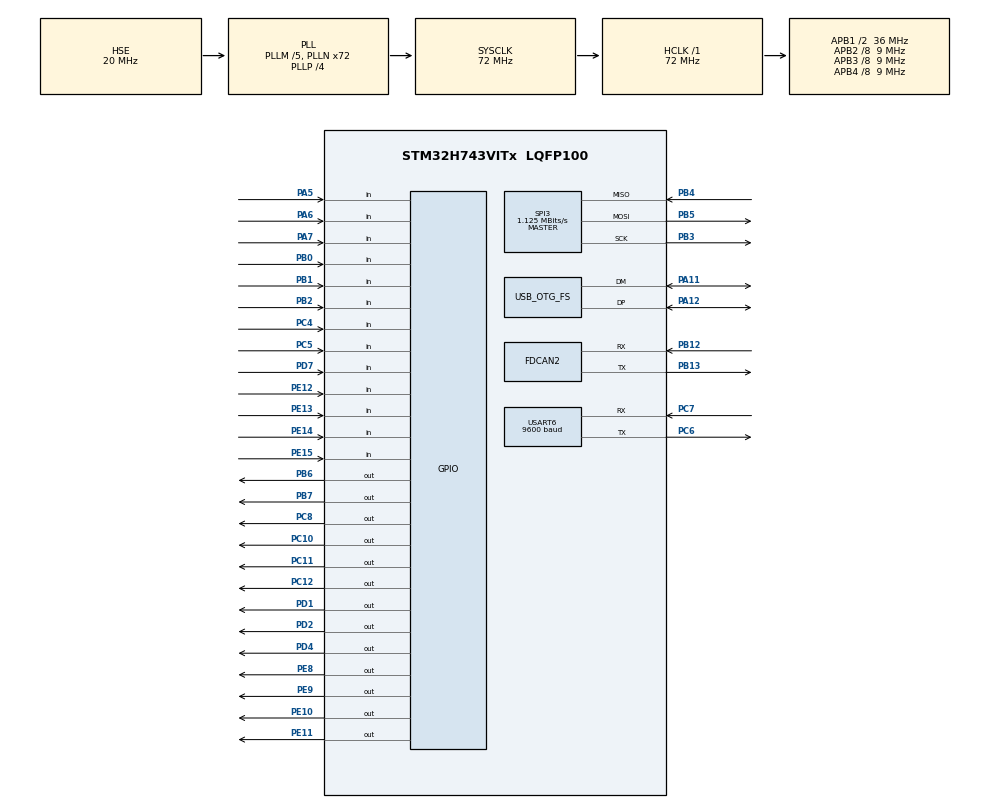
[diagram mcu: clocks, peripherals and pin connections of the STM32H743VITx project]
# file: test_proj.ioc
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Dma.Request0=SPI3_TX
Dma.SPI3_TX.0.Direction=DMA_MEMORY_TO_PERIPH
Dma.SPI3_TX.0.EventEnable=DISABLE
Dma.SPI3_TX.0.FIFOMode=DMA_FIFOMODE_DISABLE
Dma.SPI3_TX.0.Instance=DMA1_Stream0
Dma.SPI3_TX.0.MemDataAlignment=DMA_MDATAALIGN_BYTE
Dma.SPI3_TX.0.MemInc=DMA_MINC_ENABLE
Dma.SPI3_TX.0.Mode=DMA_NORMAL
Dma.SPI3_TX.0.PeriphDataAlignment=DMA_PDATAALIGN_BYTE
Dma.SPI3_TX.0.PeriphInc=DMA_PINC_DISABLE
Dma.SPI3_TX.0.Polarity=HAL_DMAMUX_REQ_GEN_RISING
Dma.SPI3_TX.0.Priority=DMA_PRIORITY_LOW
Dma.SPI3_TX.0.RequestNumber=1
Dma.SPI3_TX.0.SyncEnable=DISABLE
Dma.SPI3_TX.0.SyncPolarity=HAL_DMAMUX_SYNC_NO_EVENT
Dma.SPI3_TX.0.SyncRequestNumber=1
FDCAN2.Init_ProtocolException=ENABLE
FDCAN2.NominalPrescaler=4
FDCAN2.NominalTimeSeg1=15
FDCAN2.RxBuffersNbr=1
FDCAN2.StdFiltersNbr=1
FDCAN2.TxBuffersNbr=1
FDCAN2.TxFifoQueueElmtsNbr=0
FDCAN2.TxFifoQueueMode=FDCAN_TX_QUEUE_OPERATION
Mcu.Family=STM32H7
Mcu.Name=STM32H743VITx
Mcu.Package=LQFP100
NVIC.DMA1_Stream0_IRQn=true\:0\:0\:false\:false\:true\:false
NVIC.OTG_FS_IRQn=true\:0\:0\:false\:false\:true\:false
NVIC.PriorityGroup=NVIC_PRIORITYGROUP_4
NVIC.SPI3_IRQn=true\:0\:0\:false\:false\:true\:false
NVIC.TIM7_IRQn=true\:0\:0\:false\:false\:true\:true
PA11.Mode=Device_Only
PA11.Signal=USB_OTG_FS_DM
PA12.Mode=Device_Only
PA12.Signal=USB_OTG_FS_DP
PA13\ (JTMS/SWDIO).Mode=Serial_Wire
PA13\ (JTMS/SWDIO).Signal=SYS_JTMS-SWDIO
PA14\ (JTCK/SWCLK).Mode=Serial_Wire
PA14\ (JTCK/SWCLK).Signal=SYS_JTCK-SWCLK
PA5.Signal=GPIO_Input
PA6.Signal=GPIO_Input
PA7.Signal=GPIO_Input
PB0.Signal=GPIO_Input
PB1.Signal=GPIO_Input
PB12.Mode=FDCANSlave
PB12.Signal=FDCAN2_RX
PB13.Mode=FDCANSlave
PB13.Signal=FDCAN2_TX
PB2.Signal=GPIO_Input
PB3\ (JTDO/TRACESWO).GPIO_Mode=GPIO_MODE_AF_PP
PB3\ (JTDO/TRACESWO).GPIO_PuPd=GPIO_PULLDOWN
PB3\ (JTDO/TRACESWO).GPIO_Speed=GPIO_SPEED_FREQ_VERY_HIGH
PB3\ (JTDO/TRACESWO).Mode=Full_Duplex_Master
PB3\ (JTDO/TRACESWO).Signal=SPI3_SCK
PB4\ (NJTRST).GPIO_Mode=GPIO_MODE_AF_PP
PB4\ (NJTRST).GPIO_PuPd=GPIO_PULLDOWN
PB4\ (NJTRST).GPIO_Speed=GPIO_SPEED_FREQ_VERY_HIGH
PB4\ (NJTRST).Mode=Full_Duplex_Master
PB4\ (NJTRST).Signal=SPI3_MISO
PB5.GPIO_Mode=GPIO_MODE_AF_PP
PB5.GPIO_PuPd=GPIO_PULLDOWN
PB5.GPIO_Speed=GPIO_SPEED_FREQ_VERY_HIGH
PB5.Mode=Full_Duplex_Master
PB5.Signal=SPI3_MOSI
PB6.GPIO_FM6=SYSCFG_PMCR_I2C_PB6_FMP
PB6.GPIO_PuPd=GPIO_PULLDOWN
PB6.GPIO_Speed=GPIO_SPEED_FREQ_HIGH
PB6.Signal=GPIO_Output
PB7.Signal=GPIO_Output
PC10.GPIO_PuPd=GPIO_PULLDOWN
PC10.Signal=GPIO_Output
PC11.GPIO_PuPd=GPIO_PULLDOWN
PC11.Signal=GPIO_Output
PC12.GPIO_PuPd=GPIO_PULLDOWN
PC12.Signal=GPIO_Output
PC14-OSC32_IN\ (OSC32_IN).Mode=LSE-External-Oscillator
PC14-OSC32_IN\ (OSC32_IN).Signal=RCC_OSC32_IN
PC15-OSC32_OUT\ (OSC32_OUT).Mode=LSE-External-Oscillator
PC15-OSC32_OUT\ (OSC32_OUT).Signal=RCC_OSC32_OUT
PC4.Signal=GPIO_Input
PC5.Signal=GPIO_Input
PC6.Mode=Asynchronous
PC6.Signal=USART6_TX
PC7.Mode=Asynchronous
PC7.Signal=USART6_RX
PC8.GPIO_PuPd=GPIO_PULLDOWN
PC8.Signal=GPIO_Output
PD1.GPIO_PuPd=GPIO_PULLDOWN
PD1.Signal=GPIO_Output
PD2.GPIO_PuPd=GPIO_PULLDOWN
PD2.Signal=GPIO_Output
PD4.GPIO_PuPd=GPIO_PULLDOWN
PD4.Signal=GPIO_Output
PD7.GPIO_PuPd=GPIO_PULLDOWN
PD7.Signal=GPIO_Input
PE10.Signal=GPIO_Output
PE11.Signal=GPIO_Output
PE12.Signal=GPIO_Input
PE13.Signal=GPIO_Input
PE14.Signal=GPIO_Input
PE15.Signal=GPIO_Input
PE8.Signal=GPIO_Output
PE9.Signal=GPIO_Output
PH0-OSC_IN\ (PH0).Mode=HSE-External-Oscillator
PH0-OSC_IN\ (PH0).Signal=RCC_OSC_IN
PH1-OSC_OUT\ (PH1).Mode=HSE-External-Oscillator
PH1-OSC_OUT\ (PH1).Signal=RCC_OSC_OUT
ProjectManager.HeapSize=0x200
ProjectManager.StackSize=0x400
ProjectManager.TargetToolchain=TrueSTUDIO
RCC.ADCFreq_Value=75000000
RCC.APB1Freq_Value=36000000
RCC.APB2Freq_Value=9000000
RCC.APB3Freq_Value=9000000
RCC.APB4Freq_Value=9000000
RCC.CKPERSourceSelection=RCC_CLKPSOURCE_HSE
RCC.CortexFreq_Value=72000000
RCC.D1PPRE=RCC_APB3_DIV8
RCC.D2PPRE1=RCC_APB1_DIV2
RCC.D2PPRE2=RCC_APB2_DIV8
RCC.D3PPRE=RCC_APB4_DIV8
RCC.DIVM1=5
RCC.DIVM2=20
RCC.DIVM3=8
RCC.DIVN1=72
RCC.DIVN2=150
RCC.DIVN3=96
RCC.DIVP1=4
RCC.DIVP3=128
RCC.DIVQ1=8
RCC.DIVQ2=30
RCC.DIVQ3=5
RCC.HCLKFreq_Value=72000000
RCC.HSE_VALUE=20000000
RCC.PLLSourceVirtual=RCC_PLLSOURCE_HSE
RCC.SYSCLKFreq_VALUE=72000000
RCC.SYSCLKSource=RCC_SYSCLKSOURCE_PLLCLK
RCC.USART16CLockSelection=RCC_USART16CLKSOURCE_PLL2
RCC.USBCLockSelection=RCC_USBCLKSOURCE_PLL3
RCC.USBFreq_Value=48000000
SPI3.BaudRatePrescaler=SPI_BAUDRATEPRESCALER_32
SPI3.CalculateBaudRate=1.125 MBits/s
SPI3.DataSize=SPI_DATASIZE_8BIT
SPI3.Direction=SPI_DIRECTION_2LINES
SPI3.Mode=SPI_MODE_MASTER
SPI3.VirtualType=VM_MASTER
TIM7.Period=1079
TIM7.Prescaler=2000
USART6.BaudRate=9600
USART6.FIFOMode=FIFOMODE_DISABLE
USART6.VirtualMode=VM_ASYNC
USB_DEVICE.CLASS_NAME_FS=CDC
USB_DEVICE.USBD_MAX_STR_DESC_SIZ-CDC_FS=64
USB_DEVICE.USBD_SELF_POWERED-CDC_FS=0
USB_DEVICE.VirtualMode-CDC_FS=Cdc
USB_DEVICE.VirtualModeFS=Cdc_FS
USB_OTG_FS.VirtualMode=Device_Only
USB_OTG_FS.low_power_enable=DISABLE
VP_RCC_USB.Mode=USB_FS
VP_TIM7_VS_ClockSourceINT.Mode=Enable_Timer
VP_USB_DEVICE_VS_USB_DEVICE_CDC_FS.Mode=CDC_FS
board=custom

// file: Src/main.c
/* USER CODE BEGIN Header */
/**
  ******************************************************************************
  * @file           : main.c
  * @brief          : Main program body
  ******************************************************************************
  * This notice applies to any and all portions of this file
  * that are not between comment pairs USER CODE BEGIN and
  * USER CODE END. Other portions of this file, whether
  * inserted by the user or by software development tools
  * are owned by their respective copyright owners.
  *
  * Copyright (c) 2019 STMicroelectronics International N.V.
  * All rights reserved.
  *
  * Redistribution and use in source and binary forms, with or without
  * modification, are permitted, provided that the following conditions are met:
  *
  * 1. Redistribution of source code must retain the above copyright notice,
  *    this list of conditions and the following disclaimer.
  * 2. Redistributions in binary form must reproduce the above copyright notice,
  *    this list of conditions and the following disclaimer in the documentation
  *    and/or other materials provided with the distribution.
  * 3. Neither the name of STMicroelectronics nor the names of other
  *    contributors to this software may be used to endorse or promote products
  *    derived from this software without specific written permission.
  * 4. This software, including modifications and/or derivative works of this
  *    software, must execute solely and exclusively on microcontroller or
  *    microprocessor devices manufactured by or for STMicroelectronics.
  * 5. Redistribution and use of this software other than as permitted under
  *    this license is void and will automatically terminate your rights under
  *    this license.
  *
  * THIS SOFTWARE IS PROVIDED BY STMICROELECTRONICS AND CONTRIBUTORS "AS IS"
  * AND ANY EXPRESS, IMPLIED OR STATUTORY WARRANTIES, INCLUDING, BUT NOT
  * LIMITED TO, THE IMPLIED WARRANTIES OF MERCHANTABILITY, FITNESS FOR A
  * PARTICULAR PURPOSE AND NON-INFRINGEMENT OF THIRD PARTY INTELLECTUAL PROPERTY
  * RIGHTS ARE DISCLAIMED TO THE FULLEST EXTENT PERMITTED BY LAW. IN NO EVENT
  * SHALL STMICROELECTRONICS OR CONTRIBUTORS BE LIABLE FOR ANY DIRECT, INDIRECT,
  * INCIDENTAL, SPECIAL, EXEMPLARY, OR CONSEQUENTIAL DAMAGES (INCLUDING, BUT NOT
  * LIMITED TO, PROCUREMENT OF SUBSTITUTE GOODS OR SERVICES; LOSS OF USE, DATA,
  * OR PROFITS; OR BUSINESS INTERRUPTION) HOWEVER CAUSED AND ON ANY THEORY OF
  * LIABILITY, WHETHER IN CONTRACT, STRICT LIABILITY, OR TORT (INCLUDING
  * NEGLIGENCE OR OTHERWISE) ARISING IN ANY WAY OUT OF THE USE OF THIS SOFTWARE,
  * EVEN IF ADVISED OF THE POSSIBILITY OF SUCH DAMAGE.
  *
  ******************************************************************************
  */
/* USER CODE END Header */

#include "main.h"
#include "usb_device.h"

/* USER CODE BEGIN Includes */

#include "wizchip_conf.h"
#include "w5200.h"
#include "socket.h"
#include "dhcp.h"
#include "Universal_controller_PC_protocol.h"

#define LED_VD1(state)		HAL_GPIO_WritePin(GPIOB, GPIO_PIN_7, state)
#define LED_VD2(state)		HAL_GPIO_WritePin(GPIOD, GPIO_PIN_1, state)
#define LED_VD5(state)		HAL_GPIO_WritePin(GPIOC, GPIO_PIN_12, state)
#define LED_VD6(state)		HAL_GPIO_WritePin(GPIOC, GPIO_PIN_11, state)
#define LED_VD7(state)		HAL_GPIO_WritePin(GPIOC, GPIO_PIN_10, state)

#define DATA_READ_CMD 	0x00
#define DATA_WRITE_CMD	0x80

#define PIN_nINT		 	HAL_GPIO_ReadPin(GPIOD,GPIO_PIN_7)
#define PIN_nCS1(state) 	HAL_GPIO_WritePin(GPIOB, GPIO_PIN_6, state)
#define PIN_PWDN(state) 	HAL_GPIO_WritePin(GPIOD, GPIO_PIN_2, state)
#define PIN_nRESET(state) 	HAL_GPIO_WritePin(GPIOD, GPIO_PIN_4, state)
/* USER CODE END Includes */

/* USER CODE BEGIN PTD */
void cs_set(){
	PIN_nCS1(RESET);
}
void cs_unset(){
	PIN_nCS1(SET);
}

uint8_t data_wiznet_read(SPI_HandleTypeDef *hspi, unsigned short address){
	uint8_t data[5] = {0};
	unsigned short adr, data_lenght = 1;
	uint8_t data_rcv=0;
	adr = address;
	data[0] = (uint8_t)(adr>>8);
	data[1] = (uint8_t)adr;
	data[2] = (uint8_t)(DATA_READ_CMD|(data_lenght>>8));
	data[3] = (uint8_t)data_lenght;
	HAL_SPI_Transmit(hspi, data, 4, 10);
	HAL_SPI_Receive(hspi, &data_rcv, 1, 10);
	return data_rcv;
}

void data_wiznet_write(SPI_HandleTypeDef *hspi, unsigned short address, uint8_t data_value){
	unsigned short adr, data_lenght = 1;
	adr = address;
	uint8_t data[5] = {0};
	data[0] = (uint8_t)(adr>>8);
	data[1] = (uint8_t)adr;
	data[2] = (uint8_t)(DATA_WRITE_CMD|(data_lenght>>8));
	data[3] = (uint8_t)data_lenght;
	data[4] = data_value;
	HAL_SPI_Transmit(hspi, data, 5, 10);
}

/* USER CODE END PTD */

FDCAN_HandleTypeDef hfdcan2;

SPI_HandleTypeDef hspi3;
DMA_HandleTypeDef hdma_spi3_tx;

TIM_HandleTypeDef htim7;

UART_HandleTypeDef huart6;

/* USER CODE BEGIN PV */
/* Private variables ---------------------------------------------------------*/

/* USER CODE END PV */

void SystemClock_Config(void);
static void MX_GPIO_Init(void);
static void MX_DMA_Init(void);
static void MX_USART6_UART_Init(void);
static void MX_TIM7_Init(void);
static void MX_SPI3_Init(void);
static void MX_FDCAN2_Init(void);
/* USER CODE BEGIN PFP */
/* Private function prototypes -----------------------------------------------*/

void FDCAN_Config(uint32_t adr)
{

  /* Configure Rx filter */
	FDCAN_FilterTypeDef sFilterConfig;
	sFilterConfig.IdType = FDCAN_STANDARD_ID;
	sFilterConfig.FilterIndex = 0;
	sFilterConfig.FilterType = FDCAN_FILTER_MASK;
	sFilterConfig.FilterConfig = FDCAN_FILTER_TO_RXBUFFER;
	sFilterConfig.FilterID1 = adr;
	sFilterConfig.FilterID2 = 0x01F;
	HAL_FDCAN_ConfigGlobalFilter(&hfdcan2, FDCAN_REJECT, FDCAN_REJECT, DISABLE, DISABLE);
	if (HAL_FDCAN_ConfigFilter(&hfdcan2, &sFilterConfig) != HAL_OK)
	{
		/* Filter configuration Error */
		Error_Handler();
	}

  /* Start the FDCAN module */
  if (HAL_FDCAN_Start(&hfdcan2) != HAL_OK)
  {
    /* Start Error */
    Error_Handler();
  }
}

char can_tx_func(FDCAN_HandleTypeDef *hfdcan, unsigned int ID, uint32_t data_lenght, uint8_t *data, uint32_t can_buf_num)
{
	/* Prepare Tx Header */
	FDCAN_TxHeaderTypeDef TxHeader;
	TxHeader.Identifier = ID;
	TxHeader.IdType = FDCAN_STANDARD_ID;
	TxHeader.TxFrameType = FDCAN_DATA_FRAME;
	TxHeader.DataLength = (data_lenght<<16);
	TxHeader.ErrorStateIndicator = FDCAN_ESI_ACTIVE;
	TxHeader.BitRateSwitch = FDCAN_BRS_OFF;
	TxHeader.FDFormat = FDCAN_CLASSIC_CAN;
	TxHeader.TxEventFifoControl = FDCAN_TX_EVENT;
	TxHeader.MessageMarker = 0;
	//HAL_FDCAN_AddMessageToTxFifoQ(hfdcan, &TxHeader, data);
	HAL_FDCAN_AddMessageToTxBuffer(hfdcan, &TxHeader, data, can_buf_num);
	HAL_FDCAN_EnableTxBufferRequest(hfdcan, can_buf_num);
	return 0xFF;
}

void wiznet820_send_data(SPI_HandleTypeDef *hspi, unsigned short address, uint8_t data_value);
uint8_t wiznet820_read_data(SPI_HandleTypeDef *hspi, unsigned short address){
		PIN_nCS1(RESET);
		uint8_t data[5] = {0};
		unsigned short adr, data_lenght = 1;
		uint8_t data_rcv=0;
		adr = address;
		data[0] = (uint8_t)(adr>>8);
		data[1] = (uint8_t)adr;
		data[2] = (uint8_t)(DATA_READ_CMD|(data_lenght>>8));
		data[3] = (uint8_t)data_lenght;
		HAL_SPI_Transmit(hspi, data, 4, 10);
		HAL_SPI_Receive(hspi, &data_rcv, 1, 10);
		PIN_nCS1(SET);
		return data_rcv;
}
void eth_cmds_analysis(fobos_protocol_buf_u *);
void uart_send_byte(uint8_t *data, char lenght);
/* USER CODE END PFP */

/* USER CODE BEGIN 0 */
volatile char tmr7_flag=0;

uint8_t s_Buffer[8];
volatile uint32_t count_rs485_bytes=0;
volatile uint8_t buff = 0, buf_rx[3] = {0};

int rand_val(int min, int max){
   return min + rand() / (RAND_MAX / (max - min + 1) + 1);
}

/* USER CODE END 0 */

int main(void)
{

  /* MCU Configuration--------------------------------------------------------*/

  /* Reset of all peripherals, Initializes the Flash interface and the Systick. */
  HAL_Init();

  /* Configure the system clock */
  SystemClock_Config();

  /* Initialize all configured peripherals */
  MX_GPIO_Init();
  MX_DMA_Init();
  MX_USB_DEVICE_Init();
  MX_USART6_UART_Init();
  MX_TIM7_Init();
  MX_SPI3_Init();
  MX_FDCAN2_Init();
  /* USER CODE BEGIN 2 */
  PIN_PWDN(SET);
  PIN_nRESET(RESET);
  //HAL_Delay(200);
  LED_VD5(SET);
  LED_VD6(SET);
  LED_VD7(SET);
  HAL_GPIO_WritePin(GPIOC, GPIO_PIN_8, SET);
#define SOCKET_NMBR		0
#define SOCKET0 		0
#define SOCKET1 		1
  uint16_t socket_port = 15000;
  PIN_PWDN(RESET);
  PIN_nRESET(SET);
  PIN_nCS1(SET);
  HAL_Delay(800);
  extern _WIZCHIP WIZCHIP;
  //tmr period = 1000*(prescaler+1 * counter+1) / freq.   (ms)

	  uint8_t ip_gateway_adr[4] = {192,168,100,2};
	  uint8_t subnet_mask_adr[4] = {255,255,255,0};
	  uint8_t source_hardware_adr[6] = {0x00,0x08,0xDC,0x01,0x02,0x03};
	  uint8_t ip_source_adr[4] = {192,168,1,0};
	  uint8_t ip_destination_adr[4] = {192,168,100,2};

		setSUBR(subnet_mask_adr);
		//setGAR(ip_gateway_adr);
		setSHAR(source_hardware_adr);
		setSIPR(ip_source_adr);

		setsockopt(SOCKET0, SO_DESTPORT, &socket_port);
		setsockopt(SOCKET0, SO_DESTIP, ip_destination_adr);
		wiz_NetInfo info;
		info.dhcp = 2;
		wizchip_setnetinfo();
  FDCAN_Config(1);
  HAL_TIM_Base_Start_IT(&htim7);

  uint8_t buf[8] = {'a', 'b', 'c', 'd', 'e', 'f', 'g', 'h'}, rcv_buf[9];
  HAL_GPIO_WritePin(GPIOC, GPIO_PIN_8, RESET);

  //HAL_MDMA_Start(&hmdma_mdma_channel0_dma1_stream0_tc_0, )
  /* USER CODE END 2 */

  /* Infinite loop */
  /* USER CODE BEGIN WHILE */
  uint8_t dhcp_buf[580];
  DHCP_init(SOCKET1, dhcp_buf);

  while (1)
  {
	 /* if(0)
	  if(HAL_UART_Receive(&huart6, rcv_buf, 9, 100) == HAL_OK){
		  LED_VD7(RESET);
		  HAL_GPIO_WritePin(GPIOC, GPIO_PIN_8, SET);
		  HAL_UART_Transmit(&huart6, rcv_buf, 9, 100);
		  HAL_GPIO_WritePin(GPIOC, GPIO_PIN_8, RESET);
		  LED_VD7(SET);
	  }

	  int delay = rand_val(100,400);
	  HAL_Delay(delay);
	  {static a=0;
	  LED_VD7(a);
	  a^=1;}
	  HAL_GPIO_WritePin(GPIOC, GPIO_PIN_8, SET);
	  uint8_t ok[] = "987654321";
	  HAL_UART_Transmit(&huart6, ok, 9, 100);
	  HAL_GPIO_WritePin(GPIOC, GPIO_PIN_8, RESET);

	  if(tmr7_flag)
	  {
		  LED_VD7(RESET);
		  tmr7_flag = 0;
		  uint8_t tx_data[2] = {0x31, 0x32};
		  static int a = 0;

		  LED_VD7(SET);
		  if(a)
			  LED_VD5(a^=1);
		  else{
			  int8_t temp_socket_state=0xAA;
			  //HAL_SPI_Transmit_DMA(&hspi3, &temp_socket_state, 1);
			  //HAL_SPI_Transmit(&hspi3, &temp_socket_state, 1, 100);
			  LED_VD5(a^=1);
			  //can_tx_func(&hfdcan2, 0xAA, 2, tx_data, FDCAN_TX_BUFFER0);

		  }
	  }*/
//111111111122222222223333333333444444444455555555556666666666777777777788888888889999999999AAAAAAAAAABB //51 символ
//AWD: move forward(hex): 	05 4B 08 00 03 AA 00 FB
//AWD: move backward(hex): 	05 4B 08 00 83 AA 00 7B
	  //AWD: stop(hex):		05 4B 08 00 00 00 00 A8
	  if(DHCP_run() == DHCP_IP_LEASED){
		  LED_VD5(RESET);
		  getIPfromDHCP(ip_source_adr);
	  }

	  HAL_Delay(5);
	  if(0)
	  if(tmr7_flag)
	  {
		  tmr7_flag=0;
		  volatile static char a=0;
		  LED_VD6(a^=1);
		  LED_VD1(a);
		  /*uint8_t bbb = 0xaa;
		  uart_send_byte(&bbb, 1);*/
				int8_t temp_socket_state=0, temp_socket_interrupt=0;
				getsockopt(SOCKET0,SO_STATUS,&temp_socket_state);
				//getsockopt(SOCKET0,SO_STATUS,&temp_socket_state);
				ctlsocket(SOCKET0,SIK_RECEIVED,&temp_socket_interrupt);
				if(temp_socket_state == SOCK_ESTABLISHED)
				{
					LED_VD2(SET);
					//if(getSn_IR(SOCKET0)&Sn_IR_RECV)
					if(getsockopt(SOCKET0, SO_RECVBUF, &temp_socket_state) == 1)
					{
						LED_VD1(SET);
						volatile fobos_protocol_buf_u fobos_eth_buf;
						recv(SOCKET0,fobos_eth_buf.data_to_transmit, 258);
						eth_cmds_analysis(&fobos_eth_buf);
						LED_VD1(RESET);
					}//if eth msg received
				}
				else if(temp_socket_state == SOCK_CLOSE_WAIT)
					close(SOCKET0);

				else if(temp_socket_state == SOCK_CLOSED)
				{
					if(socket(SOCKET0, Sn_MR_TCP, socket_port, SF_TCP_NODELAY) == SOCKET0)
					  if(listen(SOCKET0) == SOCK_OK)
							LED_VD2(RESET);
				}

				//USB
				//CDC_Transmit_FS(s,strlen(s));
				//USB end
	  }
  }

    /* USER CODE END WHILE */

}

void SystemClock_Config(void)
{
  RCC_OscInitTypeDef RCC_OscInitStruct = {0};
  RCC_ClkInitTypeDef RCC_ClkInitStruct = {0};
  RCC_PeriphCLKInitTypeDef PeriphClkInitStruct = {0};
  RCC_CRSInitTypeDef RCC_CRSInitStruct = {0};

  /**Supply configuration update enable
  */
  MODIFY_REG(PWR->CR3, PWR_CR3_SCUEN, 0);
  /**Configure the main internal regulator output voltage
  */
  __HAL_PWR_VOLTAGESCALING_CONFIG(PWR_REGULATOR_VOLTAGE_SCALE3);

  while ((PWR->D3CR & (PWR_D3CR_VOSRDY)) != PWR_D3CR_VOSRDY)
  {

  }
  /**Macro to configure the PLL clock source
  */
  __HAL_RCC_PLL_PLLSOURCE_CONFIG(RCC_PLLSOURCE_HSE);
  /**Initializes the CPU, AHB and APB busses clocks
  */
  RCC_OscInitStruct.OscillatorType = RCC_OSCILLATORTYPE_HSE;
  RCC_OscInitStruct.HSEState = RCC_HSE_ON;
  RCC_OscInitStruct.PLL.PLLState = RCC_PLL_ON;
  RCC_OscInitStruct.PLL.PLLSource = RCC_PLLSOURCE_HSE;
  RCC_OscInitStruct.PLL.PLLM = 5;
  RCC_OscInitStruct.PLL.PLLN = 72;
  RCC_OscInitStruct.PLL.PLLP = 4;
  RCC_OscInitStruct.PLL.PLLQ = 8;
  RCC_OscInitStruct.PLL.PLLR = 2;
  RCC_OscInitStruct.PLL.PLLRGE = RCC_PLL1VCIRANGE_2;
  RCC_OscInitStruct.PLL.PLLVCOSEL = RCC_PLL1VCOWIDE;
  RCC_OscInitStruct.PLL.PLLFRACN = 0;
  if (HAL_RCC_OscConfig(&RCC_OscInitStruct) != HAL_OK)
  {
    Error_Handler();
  }
  /**Initializes the CPU, AHB and APB busses clocks
  */
  RCC_ClkInitStruct.ClockType = RCC_CLOCKTYPE_HCLK|RCC_CLOCKTYPE_SYSCLK
                              |RCC_CLOCKTYPE_PCLK1|RCC_CLOCKTYPE_PCLK2
                              |RCC_CLOCKTYPE_D3PCLK1|RCC_CLOCKTYPE_D1PCLK1;
  RCC_ClkInitStruct.SYSCLKSource = RCC_SYSCLKSOURCE_PLLCLK;
  RCC_ClkInitStruct.SYSCLKDivider = RCC_SYSCLK_DIV1;
  RCC_ClkInitStruct.AHBCLKDivider = RCC_HCLK_DIV1;
  RCC_ClkInitStruct.APB3CLKDivider = RCC_APB3_DIV8;
  RCC_ClkInitStruct.APB1CLKDivider = RCC_APB1_DIV2;
  RCC_ClkInitStruct.APB2CLKDivider = RCC_APB2_DIV8;
  RCC_ClkInitStruct.APB4CLKDivider = RCC_APB4_DIV8;

  if (HAL_RCC_ClockConfig(&RCC_ClkInitStruct, FLASH_LATENCY_1) != HAL_OK)
  {
    Error_Handler();
  }
  PeriphClkInitStruct.PeriphClockSelection = RCC_PERIPHCLK_USART6|RCC_PERIPHCLK_FDCAN
                              |RCC_PERIPHCLK_SPI3|RCC_PERIPHCLK_USB;
  PeriphClkInitStruct.PLL2.PLL2M = 20;
  PeriphClkInitStruct.PLL2.PLL2N = 150;
  PeriphClkInitStruct.PLL2.PLL2P = 2;
  PeriphClkInitStruct.PLL2.PLL2Q = 30;
  PeriphClkInitStruct.PLL2.PLL2R = 2;
  PeriphClkInitStruct.PLL2.PLL2RGE = RCC_PLL2VCIRANGE_0;
  PeriphClkInitStruct.PLL2.PLL2VCOSEL = RCC_PLL2VCOMEDIUM;
  PeriphClkInitStruct.PLL2.PLL2FRACN = 0;
  PeriphClkInitStruct.PLL3.PLL3M = 8;
  PeriphClkInitStruct.PLL3.PLL3N = 96;
  PeriphClkInitStruct.PLL3.PLL3P = 128;
  PeriphClkInitStruct.PLL3.PLL3Q = 5;
  PeriphClkInitStruct.PLL3.PLL3R = 2;
  PeriphClkInitStruct.PLL3.PLL3RGE = RCC_PLL3VCIRANGE_1;
  PeriphClkInitStruct.PLL3.PLL3VCOSEL = RCC_PLL3VCOWIDE;
  PeriphClkInitStruct.PLL3.PLL3FRACN = 0;
  PeriphClkInitStruct.Spi123ClockSelection = RCC_SPI123CLKSOURCE_PLL;
  PeriphClkInitStruct.FdcanClockSelection = RCC_FDCANCLKSOURCE_PLL;
  PeriphClkInitStruct.Usart16ClockSelection = RCC_USART16CLKSOURCE_PLL2;
  PeriphClkInitStruct.UsbClockSelection = RCC_USBCLKSOURCE_PLL3;
  if (HAL_RCCEx_PeriphCLKConfig(&PeriphClkInitStruct) != HAL_OK)
  {
    Error_Handler();
  }
  /**Enable the SYSCFG APB clock
  */
  __HAL_RCC_CRS_CLK_ENABLE();
  /**Configures CRS
  */
  RCC_CRSInitStruct.Prescaler = RCC_CRS_SYNC_DIV1;
  RCC_CRSInitStruct.Source = RCC_CRS_SYNC_SOURCE_USB2;
  RCC_CRSInitStruct.Polarity = RCC_CRS_SYNC_POLARITY_RISING;
  RCC_CRSInitStruct.ReloadValue = __HAL_RCC_CRS_RELOADVALUE_CALCULATE(48000000,1000);
  RCC_CRSInitStruct.ErrorLimitValue = 34;
  RCC_CRSInitStruct.HSI48CalibrationValue = 32;

  HAL_RCCEx_CRSConfig(&RCC_CRSInitStruct);
}

static void MX_FDCAN2_Init(void)
{

  hfdcan2.Instance = FDCAN2;
  hfdcan2.Init.FrameFormat = FDCAN_FRAME_CLASSIC;
  hfdcan2.Init.Mode = FDCAN_MODE_NORMAL;
  hfdcan2.Init.AutoRetransmission = DISABLE;
  hfdcan2.Init.TransmitPause = DISABLE;
  hfdcan2.Init.NominalPrescaler = 4;
  hfdcan2.Init.NominalSyncJumpWidth = 1;
  hfdcan2.Init.NominalTimeSeg1 = 15;
  hfdcan2.Init.NominalTimeSeg2 = 2;
  hfdcan2.Init.DataPrescaler = 1;
  hfdcan2.Init.DataSyncJumpWidth = 1;
  hfdcan2.Init.DataTimeSeg1 = 1;
  hfdcan2.Init.DataTimeSeg2 = 1;
  hfdcan2.Init.MessageRAMOffset = 0;
  hfdcan2.Init.StdFiltersNbr = 1;
  hfdcan2.Init.ExtFiltersNbr = 0;
  hfdcan2.Init.RxFifo0ElmtsNbr = 0;
  hfdcan2.Init.RxFifo0ElmtSize = FDCAN_DATA_BYTES_8;
  hfdcan2.Init.RxFifo1ElmtsNbr = 0;
  hfdcan2.Init.RxFifo1ElmtSize = FDCAN_DATA_BYTES_8;
  hfdcan2.Init.RxBuffersNbr = 1;
  hfdcan2.Init.RxBufferSize = FDCAN_DATA_BYTES_8;
  hfdcan2.Init.TxEventsNbr = 0;
  hfdcan2.Init.TxBuffersNbr = 5;
  hfdcan2.Init.TxFifoQueueElmtsNbr = 0;
  hfdcan2.Init.TxFifoQueueMode = FDCAN_TX_QUEUE_OPERATION;
  hfdcan2.Init.TxElmtSize = FDCAN_DATA_BYTES_8;
  hfdcan2.msgRam.StandardFilterSA = 0;
  hfdcan2.msgRam.ExtendedFilterSA = 0;
  hfdcan2.msgRam.RxFIFO0SA = 0;
  hfdcan2.msgRam.RxFIFO1SA = 0;
  hfdcan2.msgRam.RxBufferSA = 0;
  hfdcan2.msgRam.TxEventFIFOSA = 0;
  hfdcan2.msgRam.TxBufferSA = 0;
  hfdcan2.msgRam.TxFIFOQSA = 0;
  hfdcan2.msgRam.TTMemorySA = 0;
  hfdcan2.msgRam.EndAddress = 0;
  hfdcan2.ErrorCode = 0;
  if (HAL_FDCAN_Init(&hfdcan2) != HAL_OK)
  {
    Error_Handler();
  }

}

static void MX_SPI3_Init(void)
{

  /* SPI3 parameter configuration*/
  hspi3.Instance = SPI3;
  hspi3.Init.Mode = SPI_MODE_MASTER;
  hspi3.Init.Direction = SPI_DIRECTION_2LINES;
  hspi3.Init.DataSize = SPI_DATASIZE_8BIT;
  hspi3.Init.CLKPolarity = SPI_POLARITY_LOW;
  hspi3.Init.CLKPhase = SPI_PHASE_1EDGE;
  hspi3.Init.NSS = SPI_NSS_SOFT;
  hspi3.Init.BaudRatePrescaler = SPI_BAUDRATEPRESCALER_32;
  hspi3.Init.FirstBit = SPI_FIRSTBIT_MSB;
  hspi3.Init.TIMode = SPI_TIMODE_DISABLE;
  hspi3.Init.CRCCalculation = SPI_CRCCALCULATION_DISABLE;
  hspi3.Init.CRCPolynomial = 7;
  hspi3.Init.NSSPMode = SPI_NSS_PULSE_ENABLE;
  hspi3.Init.NSSPolarity = SPI_NSS_POLARITY_LOW;
  hspi3.Init.FifoThreshold = SPI_FIFO_THRESHOLD_01DATA;
  hspi3.Init.TxCRCInitializationPattern = SPI_CRC_INITIALIZATION_ALL_ZERO_PATTERN;
  hspi3.Init.RxCRCInitializationPattern = SPI_CRC_INITIALIZATION_ALL_ZERO_PATTERN;
  hspi3.Init.MasterSSIdleness = SPI_MASTER_SS_IDLENESS_00CYCLE;
  hspi3.Init.MasterInterDataIdleness = SPI_MASTER_INTERDATA_IDLENESS_00CYCLE;
  hspi3.Init.MasterReceiverAutoSusp = SPI_MASTER_RX_AUTOSUSP_DISABLE;
  hspi3.Init.MasterKeepIOState = SPI_MASTER_KEEP_IO_STATE_DISABLE;
  hspi3.Init.IOSwap = SPI_IO_SWAP_DISABLE;
  if (HAL_SPI_Init(&hspi3) != HAL_OK)
  {
    Error_Handler();
  }

}

static void MX_TIM7_Init(void)
{

  TIM_MasterConfigTypeDef sMasterConfig = {0};

  htim7.Instance = TIM7;
  htim7.Init.Prescaler = 2000;
  htim7.Init.CounterMode = TIM_COUNTERMODE_UP;
  htim7.Init.Period = 179;
  htim7.Init.AutoReloadPreload = TIM_AUTORELOAD_PRELOAD_DISABLE;
  if (HAL_TIM_Base_Init(&htim7) != HAL_OK)
  {
    Error_Handler();
  }
  sMasterConfig.MasterOutputTrigger = TIM_TRGO_RESET;
  sMasterConfig.MasterSlaveMode = TIM_MASTERSLAVEMODE_DISABLE;
  if (HAL_TIMEx_MasterConfigSynchronization(&htim7, &sMasterConfig) != HAL_OK)
  {
    Error_Handler();
  }

}

static void MX_USART6_UART_Init(void)
{

  huart6.Instance = USART6;
  huart6.Init.BaudRate = 9600;
  huart6.Init.WordLength = UART_WORDLENGTH_8B;
  huart6.Init.StopBits = UART_STOPBITS_1;
  huart6.Init.Parity = UART_PARITY_NONE;
  huart6.Init.Mode = UART_MODE_TX_RX;
  huart6.Init.HwFlowCtl = UART_HWCONTROL_NONE;
  huart6.Init.OverSampling = UART_OVERSAMPLING_16;
  huart6.Init.OneBitSampling = UART_ONE_BIT_SAMPLE_DISABLE;
  huart6.Init.Prescaler = UART_PRESCALER_DIV1;
  huart6.Init.FIFOMode = UART_FIFOMODE_DISABLE;
  huart6.Init.TXFIFOThreshold = UART_TXFIFO_THRESHOLD_1_8;
  huart6.Init.RXFIFOThreshold = UART_RXFIFO_THRESHOLD_1_8;
  huart6.AdvancedInit.AdvFeatureInit = UART_ADVFEATURE_NO_INIT;
  if (HAL_UART_Init(&huart6) != HAL_OK)
  {
    Error_Handler();
  }
  /* USER CODE BEGIN USART6_Init 2 */
  HAL_NVIC_SetPriority(USART6_IRQn, 0, 1);
  HAL_NVIC_EnableIRQ(USART6_IRQn);
  /* USER CODE END USART6_Init 2 */

}

static void MX_DMA_Init(void)
{
  /* DMA controller clock enable */
  __HAL_RCC_DMA1_CLK_ENABLE();

  /* DMA interrupt init */
  /* DMA1_Stream0_IRQn interrupt configuration */
  HAL_NVIC_SetPriority(DMA1_Stream0_IRQn, 0, 0);
  HAL_NVIC_EnableIRQ(DMA1_Stream0_IRQn);

}

static void MX_GPIO_Init(void)
{
  GPIO_InitTypeDef GPIO_InitStruct = {0};

  /* GPIO Ports Clock Enable */
  __HAL_RCC_GPIOC_CLK_ENABLE();
  __HAL_RCC_GPIOH_CLK_ENABLE();
  __HAL_RCC_GPIOA_CLK_ENABLE();
  __HAL_RCC_GPIOB_CLK_ENABLE();
  __HAL_RCC_GPIOE_CLK_ENABLE();
  __HAL_RCC_GPIOD_CLK_ENABLE();

  /*Configure GPIO pin Output Level */
  HAL_GPIO_WritePin(GPIOE, GPIO_PIN_8|GPIO_PIN_9|GPIO_PIN_10|GPIO_PIN_11, GPIO_PIN_RESET);

  /*Configure GPIO pin Output Level */
  HAL_GPIO_WritePin(GPIOC, GPIO_PIN_8|GPIO_PIN_10|GPIO_PIN_11|GPIO_PIN_12, GPIO_PIN_RESET);

  /*Configure GPIO pin Output Level */
  HAL_GPIO_WritePin(GPIOD, GPIO_PIN_1|GPIO_PIN_2|GPIO_PIN_4, GPIO_PIN_RESET);

  /*Configure GPIO pin Output Level */
  HAL_GPIO_WritePin(GPIOB, GPIO_PIN_6|GPIO_PIN_7, GPIO_PIN_RESET);

  /*Configure GPIO pins : PA5 PA6 PA7 */
  GPIO_InitStruct.Pin = GPIO_PIN_5|GPIO_PIN_6|GPIO_PIN_7;
  GPIO_InitStruct.Mode = GPIO_MODE_INPUT;
  GPIO_InitStruct.Pull = GPIO_NOPULL;
  HAL_GPIO_Init(GPIOA, &GPIO_InitStruct);

  /*Configure GPIO pins : PC4 PC5 */
  GPIO_InitStruct.Pin = GPIO_PIN_4|GPIO_PIN_5;
  GPIO_InitStruct.Mode = GPIO_MODE_INPUT;
  GPIO_InitStruct.Pull = GPIO_NOPULL;
  HAL_GPIO_Init(GPIOC, &GPIO_InitStruct);

  /*Configure GPIO pins : PB0 PB1 PB2 */
  GPIO_InitStruct.Pin = GPIO_PIN_0|GPIO_PIN_1|GPIO_PIN_2;
  GPIO_InitStruct.Mode = GPIO_MODE_INPUT;
  GPIO_InitStruct.Pull = GPIO_NOPULL;
  HAL_GPIO_Init(GPIOB, &GPIO_InitStruct);

  /*Configure GPIO pins : PE8 PE9 PE10 PE11 */
  GPIO_InitStruct.Pin = GPIO_PIN_8|GPIO_PIN_9|GPIO_PIN_10|GPIO_PIN_11;
  GPIO_InitStruct.Mode = GPIO_MODE_OUTPUT_PP;
  GPIO_InitStruct.Pull = GPIO_NOPULL;
  GPIO_InitStruct.Speed = GPIO_SPEED_FREQ_LOW;
  HAL_GPIO_Init(GPIOE, &GPIO_InitStruct);

  /*Configure GPIO pins : PE12 PE13 PE14 PE15 */
  GPIO_InitStruct.Pin = GPIO_PIN_12|GPIO_PIN_13|GPIO_PIN_14|GPIO_PIN_15;
  GPIO_InitStruct.Mode = GPIO_MODE_INPUT;
  GPIO_InitStruct.Pull = GPIO_NOPULL;
  HAL_GPIO_Init(GPIOE, &GPIO_InitStruct);

  /*Configure GPIO pins : PC8 PC10 PC11 PC12 */
  GPIO_InitStruct.Pin = GPIO_PIN_8|GPIO_PIN_10|GPIO_PIN_11|GPIO_PIN_12;
  GPIO_InitStruct.Mode = GPIO_MODE_OUTPUT_PP;
  GPIO_InitStruct.Pull = GPIO_PULLDOWN;
  GPIO_InitStruct.Speed = GPIO_SPEED_FREQ_LOW;
  HAL_GPIO_Init(GPIOC, &GPIO_InitStruct);

  /*Configure GPIO pins : PD1 PD2 PD4 */
  GPIO_InitStruct.Pin = GPIO_PIN_1|GPIO_PIN_2|GPIO_PIN_4;
  GPIO_InitStruct.Mode = GPIO_MODE_OUTPUT_PP;
  GPIO_InitStruct.Pull = GPIO_PULLDOWN;
  GPIO_InitStruct.Speed = GPIO_SPEED_FREQ_LOW;
  HAL_GPIO_Init(GPIOD, &GPIO_InitStruct);

  /*Configure GPIO pin : PD7 */
  GPIO_InitStruct.Pin = GPIO_PIN_7;
  GPIO_InitStruct.Mode = GPIO_MODE_INPUT;
  GPIO_InitStruct.Pull = GPIO_PULLDOWN;
  HAL_GPIO_Init(GPIOD, &GPIO_InitStruct);

  /*Configure GPIO pin : PB6 */
  GPIO_InitStruct.Pin = GPIO_PIN_6;
  GPIO_InitStruct.Mode = GPIO_MODE_OUTPUT_PP;
  GPIO_InitStruct.Pull = GPIO_PULLDOWN;
  GPIO_InitStruct.Speed = GPIO_SPEED_FREQ_HIGH;
  HAL_GPIO_Init(GPIOB, &GPIO_InitStruct);

  /*Configure GPIO pin : PB7 */
  GPIO_InitStruct.Pin = GPIO_PIN_7;
  GPIO_InitStruct.Mode = GPIO_MODE_OUTPUT_PP;
  GPIO_InitStruct.Pull = GPIO_NOPULL;
  GPIO_InitStruct.Speed = GPIO_SPEED_FREQ_LOW;
  HAL_GPIO_Init(GPIOB, &GPIO_InitStruct);

  /**/
  HAL_I2CEx_EnableFastModePlus(SYSCFG_PMCR_I2C_PB6_FMP);

}

/* USER CODE BEGIN 4 */

void uart_send_byte(uint8_t *data, char lenght){
	HAL_GPIO_WritePin(GPIOC, GPIO_PIN_8, SET);
	HAL_UART_Transmit(&huart6, data, lenght, 10);
	HAL_GPIO_WritePin(GPIOC, GPIO_PIN_8, RESET);
}

void wiznet820_send_data(SPI_HandleTypeDef *hspi, unsigned short address, uint8_t data_value){
	PIN_nCS1(RESET);
	HAL_Delay(10);
	unsigned short adr, data_lenght = 1;
	adr = address;
	uint8_t data[5] = {0};
	data[0] = (uint8_t)(adr>>8);
	data[1] = (uint8_t)adr;
	data[2] = (uint8_t)(DATA_WRITE_CMD|(data_lenght>>8));
	data[3] = (uint8_t)data_lenght;
	data[4] = data_value;
	HAL_SPI_Transmit(hspi, data, 5, 10);
	PIN_nCS1(SET);
}

void fobos_eth_protocol_send(uint8_t CMD, uint8_t bytes_in_packet_N, fobos_protocol_buf_u *fobos_eth_buf){//убрать строку с [0]=0!
	fobos_eth_buf->fobos_protocol_buf_t.CMD = CMD;
	fobos_eth_buf->fobos_protocol_buf_t.bytes_in_packet_N = bytes_in_packet_N;
	for(int i=0; i<bytes_in_packet_N; i++)
	fobos_eth_buf->fobos_protocol_buf_t.data[i] = (uint8_t)(rand()%7);
	fobos_eth_buf->fobos_protocol_buf_t.data[0]=0;//!!!@@@###
	send(SOCKET0,fobos_eth_buf->data_to_transmit,bytes_in_packet_N+2);
}

void eth_cmds_analysis(fobos_protocol_buf_u *fobos_eth_buf){
	switch(fobos_eth_buf->fobos_protocol_buf_t.CMD)
	{
	case FOBOS_ETH_ECHO:

			//fobos_eth_protocol_send(FOBOS_ETH_ECHO, getSn_RX_RSR(SOCKET0), fobos_eth_buf);
			send(SOCKET0, fobos_eth_buf->data_to_transmit, fobos_eth_buf->fobos_protocol_buf_t.bytes_in_packet_N+2);

		break;
	case  FOBOS_ETH_RST:
		fobos_eth_protocol_send(FOBOS_ETH_RST, 1, fobos_eth_buf);
		break;
	case FOBOS_SENSORS_STATE:
		fobos_eth_protocol_send(FOBOS_SENSORS_STATE, 4, fobos_eth_buf);
		break;
	case FOBOS_GENERATOR_STATE:
		fobos_eth_protocol_send(FOBOS_GENERATOR_STATE, 2, fobos_eth_buf);
		break;
	case FOBOS_SERVOMOTOR_PLACEMENT:
		fobos_eth_protocol_send(FOBOS_SERVOMOTOR_PLACEMENT, 4, fobos_eth_buf);
		break;
	case FOBOS_STATEMENT:
		fobos_eth_protocol_send(FOBOS_STATEMENT, 2, fobos_eth_buf);
		break;
	case FOBOS_CMD_BASING_SERVO:
		fobos_eth_protocol_send(FOBOS_CMD_BASING_SERVO, 1, fobos_eth_buf);
		break;
	case FOBOS_CMD_WORK:
		fobos_eth_protocol_send(FOBOS_CMD_WORK, 1, fobos_eth_buf);
		break;
	case FOBOS_CMD_BARRIER:
		fobos_eth_protocol_send(FOBOS_CMD_BARRIER, 2, fobos_eth_buf);
		break;
	}
}

/* USER CODE END 4 */

void Error_Handler(void)
{
  while(1)
  {
  }
}

/************************ (C) COPYRIGHT STMicroelectronics *****END OF FILE****/
